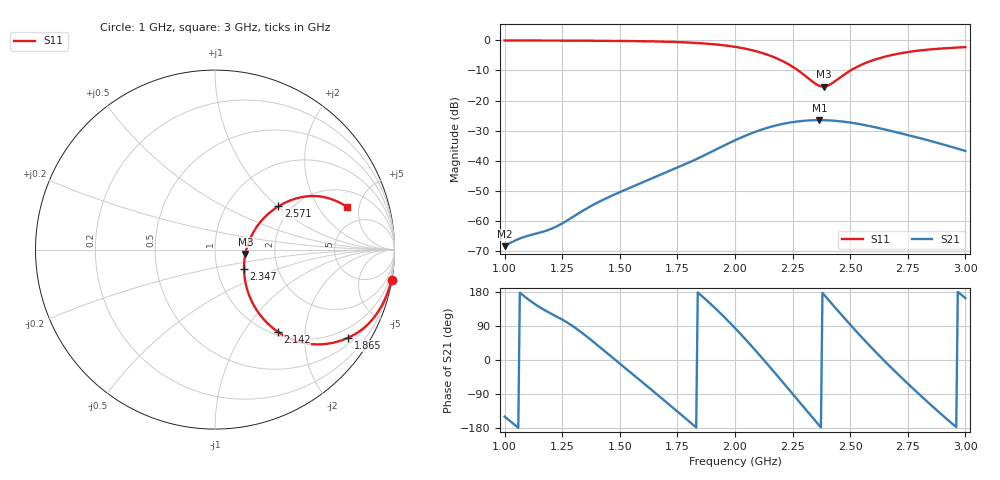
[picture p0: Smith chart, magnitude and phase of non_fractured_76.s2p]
! TOUCHSTONE file generated by CST MICROWAVE STUDIO
! Date and time: Sat Mar  8 13:54:30 2025
! Project name: non_fractured.cst
! Parameters = {B=2.5; D=160; F=25; Feed=2.85625; L=100; M=5; R=0.384908; S=2; Theta=270; length=57.125; wave=114.25}
! Header version: 2024
! Port assignment regex: !\s*Touchstone port\s*([0-9]+)\s*=\s*(CST MWS port|CST DES external port|CST DES block port)\s*(.+)\s* \(\"(.*)\"\)(\s*mode\s*([0-9]+))?.*
! Touchstone port assignment:
! Touchstone port 1 = CST MWS port 1 ("")
! Touchstone port 2 = CST MWS port 2 ("")
# GHz S DB R 50
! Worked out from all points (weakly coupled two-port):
!   304 points, 1 GHz to 3 GHz, reference 50 ohm
!   highest |S21| = -26.53 dB at 2.366 GHz (marker M1); lowest = -68.5 dB at 1 GHz (marker M2)
!   lowest |S11| = -15.4 dB at 2.386 GHz (marker M3), VSWR 1.41, Z = 70.2 - j3.56 ohm
!   |S11| at or under -10 dB: 2.274 GHz to 2.502 GHz (227.5 MHz wide, 9.53 % of centre)
!   S12 and S22 are empty: the file has one direction only
!   S11 on the Smith chart (normalised r, x): 1 GHz: 0, -12; 1.865 GHz: 0.68, -3.19; 2.142 GHz: 1.06, -1.45; 2.347 GHz: 1.35, -0.30; 2.571 GHz: 1.71, +1.01; 3 GHz: 3.17, +3.75
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1  -0.02 -9.7  -68.46 -149.4  -200.00 0.0  -200.00 0.0
1.07261  -0.03 -10.7  -65.72 174.4  -200.00 0.0  -200.00 0.0
1.21122  -0.05 -12.9  -62.41 119.4  -200.00 0.0  -200.00 0.0
1.33663  -0.09 -15.2  -56.81 71.4  -200.00 0.0  -200.00 0.0
1.44884  -0.14 -17.6  -52.25 16.0  -200.00 0.0  -200.00 0.0
1.66667  -0.37 -24.1  -45.02 -93.3  -200.00 0.0  -200.00 0.0
1.76568  -0.60 -28.3  -41.81 -143.9  -200.00 0.0  -200.00 0.0
1.86469  -1.02 -33.5  -38.32 164.2  -200.00 0.0  -200.00 0.0
2.0033  -2.18 -42.7  -33.12 82.3  -200.00 0.0  -200.00 0.0
2.07591  -3.29 -48.2  -30.77 34.1  -200.00 0.0  -200.00 0.0
2.14191  -4.80 -52.6  -29.05 -11.8  -200.00 0.0  -200.00 0.0
2.24092  -8.33 -55.2  -27.30 -82.8  -200.00 0.0  -200.00 0.0
2.33993  -13.92 -36.5  -26.56 -154.4  -200.00 0.0  -200.00 0.0
2.34653  -14.28 -33.2  -26.55 -159.1  -200.00 0.0  -200.00 0.0
2.36634  -15.10 -21.7  -26.53 -173.3  -200.00 0.0  -200.00 0.0
2.38614  -15.35 -8.3  -26.55 172.5  -200.00 0.0  -200.00 0.0
2.41914  -14.38 11.9  -26.66 149.2  -200.00 0.0  -200.00 0.0
2.47855  -11.14 29.9  -27.10 107.9  -200.00 0.0  -200.00 0.0
2.57096  -7.39 34.3  -28.29 46.4  -200.00 0.0  -200.00 0.0
2.66997  -5.06 31.4  -29.98 -15.3  -200.00 0.0  -200.00 0.0
2.82838  -3.13 24.1  -33.03 -106.6  -200.00 0.0  -200.00 0.0
3  -2.24 18.0  -36.78 163.3  -200.00 0.0  -200.00 0.0
